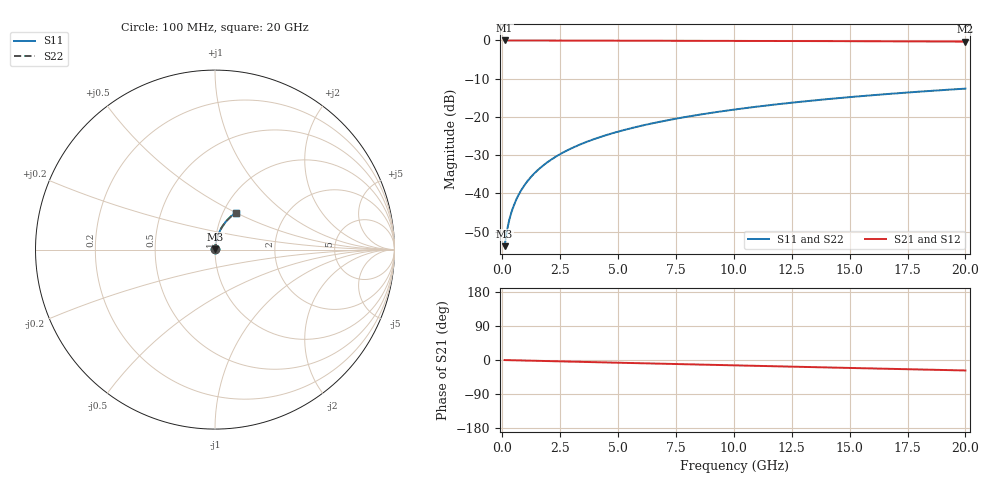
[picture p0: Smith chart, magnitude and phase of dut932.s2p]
! Touchstone file exported from HFSS 2026.1.0
!  File:  C:/ffzhzh/LocalFiles/Ansys_Project_Files/temp_train_BSMRDL_932_1783171932_51560.aedt
!  Generated:  09:33:26 PM Jul  4, 2026
!  Design:  BSMRDL
!  Project:  temp_train_BSMRDL_932_1783171932_51560
! Variables:
!  h_bsmrdl = 4.18um
!  h_ox = 20um
!  h_rdl = 5um
!  h_sub = 80um
!  h_tmrdl = 5um
!  h_tsv = 80um
!  h_via = 3um
!  l_bsmrdl = 394.62um
!  l_sub = 794.62um
!  l_tmrdl = 200um
!  m_sub = 200um
!  pitch = 51.41um
!  r_tsv = 6um
!  s_tmrdl = 10um
!  w_bsmrdl = 27.69um
!  w_sub = 500um
!  w_tmrdl = 12um
!  x_tsv_center1 = 206um
!  x_tsv_center2 = 628.31um
!  x_tsv_center3 = 840.31um
!  x_tsv_center4 = 1262.62um
!  x_tsv_center5 = 1474.62um
!  x_tsv_center6 = 1896.93um
# GHz S MA R 50.000000
! Terminal data exported
! Port[1] = BSM_RDL1_1_T1
! Port[2] = BSM_RDL1_1_T2
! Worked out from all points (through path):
!   200 points, 100 MHz to 20 GHz, reference 50 ohm
!   highest |S21| = -0.01 dB at 100 MHz (marker M1); lowest = -0.3 dB at 20 GHz (marker M2)
!   group delay of S21, straight-line fit = 3.84 ps
!   lowest |S11| = -53.8 dB at 100 MHz (marker M3), VSWR 1.00, Z = 50.1 + j0.147 ohm
!   |S11| at or under -10 dB: start of sweep to end of sweep
!   |S22| runs from -53.8 to -12.6 dB; largest |S21 - S12| = 2.1e-15
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0.1  0.00205 45.6  0.9986 -0.2  0.9986 -0.2  0.00205 45.6
! Gamma 0 0 0 0
! Port Impedance 50 0 50 0
0.2  0.003252 61.4  0.9985 -0.3  0.9985 -0.3  0.003251 61.4
0.3  0.004505 68.1  0.9983 -0.4  0.9983 -0.4  0.004504 68.1
0.4  0.005757 72.0  0.9983 -0.6  0.9983 -0.6  0.005757 72.0
0.5  0.007012 74.5  0.9982 -0.7  0.9982 -0.7  0.007011 74.5
0.6  0.008273 76.4  0.9982 -0.9  0.9982 -0.9  0.008272 76.4
0.8  0.01081 78.8  0.9981 -1.2  0.9981 -1.2  0.01081 78.8
1.1  0.01466 80.7  0.998 -1.6  0.998 -1.6  0.01466 80.7
1.5  0.01981 81.8  0.9978 -2.2  0.9978 -2.2  0.01981 81.8
1.8  0.02368 82.2  0.9976 -2.6  0.9976 -2.6  0.02368 82.2
2.1  0.02755 82.3  0.9974 -3.0  0.9974 -3.0  0.02755 82.3
2.7  0.03526 82.1  0.997 -3.9  0.997 -3.9  0.03526 82.1
3.5  0.04546 81.5  0.9962 -5.0  0.9962 -5.0  0.04546 81.5
4.2  0.05429 80.7  0.9955 -6.0  0.9955 -6.0  0.05429 80.7
5  0.0643 79.8  0.9945 -7.2  0.9945 -7.2  0.0643 79.8
5.9  0.07542 78.7  0.9934 -8.4  0.9934 -8.4  0.07542 78.7
6.8  0.08643 77.6  0.9921 -9.7  0.9921 -9.7  0.08643 77.6
8.3  0.1045 75.7  0.9899 -11.8  0.9899 -11.8  0.1045 75.7
10.1  0.1258 73.4  0.9869 -14.3  0.9869 -14.3  0.1258 73.4
13.4  0.1638 69.1  0.9805 -18.8  0.9805 -18.8  0.1638 69.1
16.7  0.2001 64.9  0.9732 -23.3  0.9732 -23.3  0.2001 64.9
20  0.2345 60.6  0.965 -27.6  0.965 -27.6  0.2345 60.6
